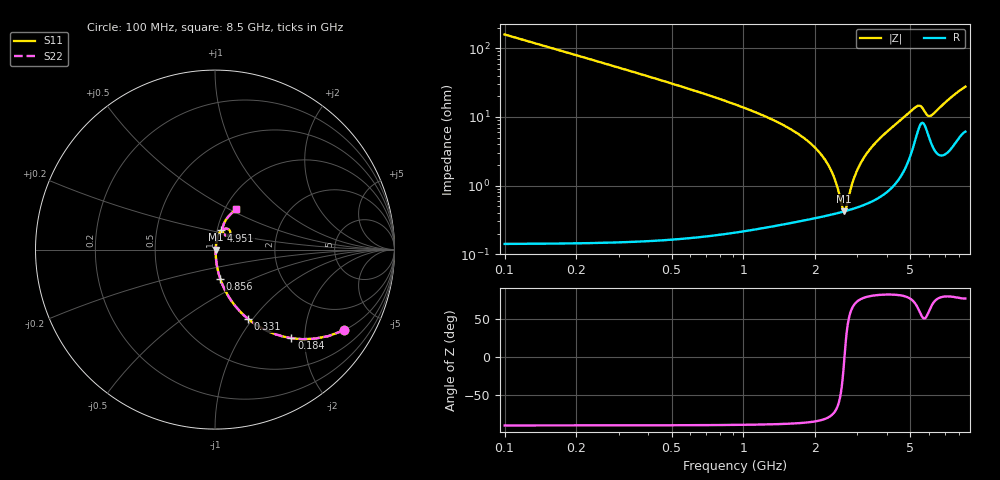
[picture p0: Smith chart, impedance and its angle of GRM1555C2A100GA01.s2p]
!Murata Part Number: GRM1555C2A100GA01
!These Parameters are Measured in Series Mode Connection
!Data Generated on Mar 30, 2021
!  o--ll--o
!Port1  Port2
!  o------o
!Operation Temp=25[degC], DC Bias Voltage=0[V]
!Freq. Start=100[MHz] Stop=9[GHz] 401[Steps]
# Hz S RI R 50
!Freq.(Hz) S11(Real) S11(Imag) S21(Real) S21(Imag) S12(Real) S12(Imag) S22(Real) S22(Imag)
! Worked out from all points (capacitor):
!   401 points, 100 MHz to 8.5 GHz, reference 50 ohm
!   read as one part in series: C = 10 pF near 142 MHz
!   lowest |Z| = 421 mohm at 2.641 GHz (marker M1)
!   series resonance near 2.649 GHz, so ESL is about 360 pH
!   S11 on the Smith chart (normalised r, x): 100 MHz: 1.00, -3.18; 184 MHz: 1.00, -1.72; 331 MHz: 1.00, -0.95; 856 MHz: 1.00, -0.33; 4.951 GHz: 1.05, +0.23; 8.5 GHz: 1.12, +0.54
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1e8  0.7162 -0.4504  0.2838 0.4504  0.2838 0.4504  0.7162 -0.4504
1.84e8  0.4258 -0.4936  0.5742 0.4936  0.5742 0.4936  0.4258 -0.4936
3.31e8  0.1839 -0.3858  0.8161 0.3858  0.8161 0.3858  0.1839 -0.3858
5.2e8  0.0811 -0.2702  0.9189 0.2702  0.9189 0.2702  0.0811 -0.2702
8.56e8  0.029 -0.1619  0.971 0.1619  0.971 0.1619  0.029 -0.1619
1.507e9  0.00792 -0.0716  0.9921 0.0716  0.9921 0.0716  0.00792 -0.0716
1.927e9  0.00482 -0.0396  0.9952 0.0396  0.9952 0.0396  0.00482 -0.0396
2.221e9  0.00409 -0.0219  0.9959 0.0219  0.9959 0.0219  0.00409 -0.0219
2.41e9  0.00399 -0.0118  0.996 0.0118  0.996 0.0118  0.00399 -0.0118
2.599e9  0.00412 -0.0024  0.9959 0.0024  0.9959 0.0024  0.00412 -0.0024
2.641e9  0.00418 -0.000378  0.9958 0.000378  0.9958 0.000378  0.00418 -0.000378
2.704e9  0.00428 0.00261  0.9957 -0.00261  0.9957 -0.00261  0.00428 0.00261
2.914e9  0.00477 0.0123  0.9952 -0.0123  0.9952 -0.0123  0.00477 0.0123
3.124e9  0.00549 0.0216  0.9945 -0.0216  0.9945 -0.0216  0.00549 0.0216
3.397e9  0.00679 0.0334  0.9932 -0.0334  0.9932 -0.0334  0.00679 0.0334
4.3e9  0.0157 0.0734  0.9843 -0.0734  0.9843 -0.0734  0.0157 0.0734
4.951e9  0.0358 0.1065  0.9642 -0.1065  0.9642 -0.1065  0.0358 0.1065
5.392e9  0.0742 0.1136  0.9258 -0.1136  0.9258 -0.1136  0.0742 0.1136
5.707e9  0.0799 0.0821  0.9201 -0.0821  0.9201 -0.0821  0.0799 0.0821
6.064e9  0.0502 0.0853  0.9498 -0.0853  0.9498 -0.0853  0.0502 0.0853
7.114e9  0.0542 0.1547  0.9458 -0.1547  0.9458 -0.1547  0.0542 0.1547
8.5e9  0.1147 0.225  0.8853 -0.225  0.8853 -0.225  0.1147 0.225
